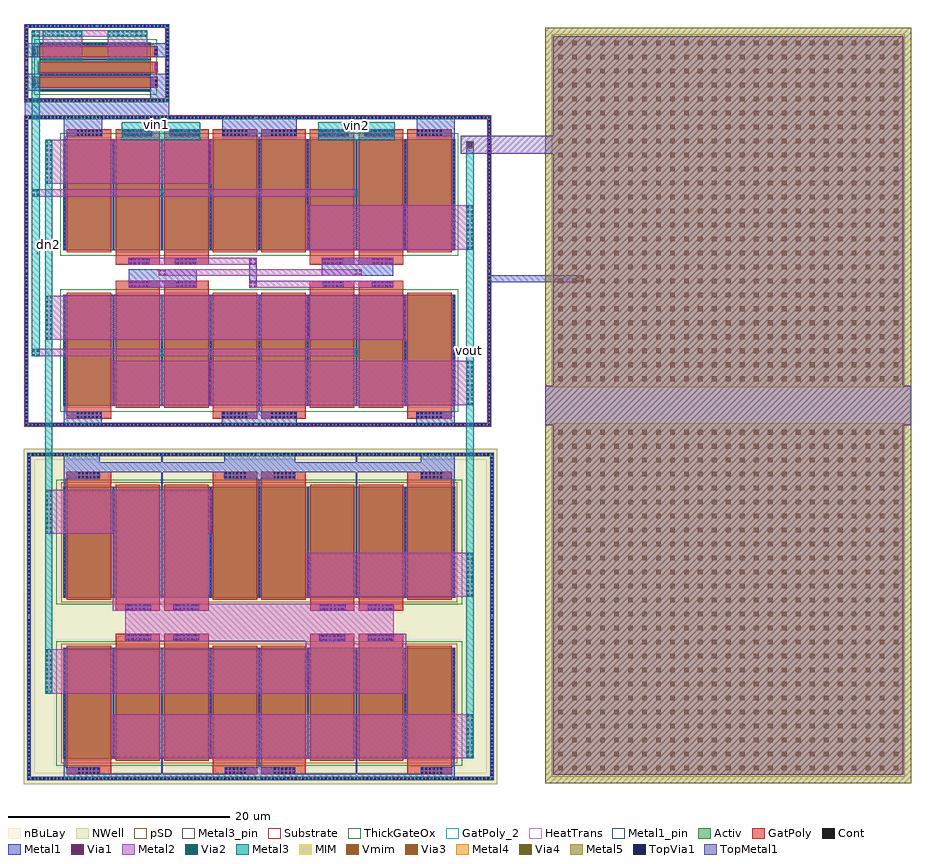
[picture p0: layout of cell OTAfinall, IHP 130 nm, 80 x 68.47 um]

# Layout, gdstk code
from math import pi, radians
import gdstk
lib = gdstk.Library(unit=1e-6, precision=5e-09)
def R(c, l, rs):  # rectangles x0, y0, x1, y1
    for r in rs: c.add(gdstk.rectangle(r[:2], r[2:], *l))
def A(c, l, x, y, w, h, nx, ny, dx, dy):  # array of equal rectangles
    R(c, l, [(x+i*dx, y+j*dy, x+i*dx+w, y+j*dy+h) for i in range(nx) for j in range(ny)])
def P(c, l, *ps):  # polygons
    for p in ps: c.add(gdstk.Polygon(p, *l))
Activ = (1, 0)
GatPoly = (5, 0)
GatPoly_2 = (5, 2)
Cont = (6, 0)
Metal1 = (8, 0)
Metal1_pin = (8, 2)
Metal2 = (10, 0)
pSD = (14, 0)
Via1 = (19, 0)
Via2 = (29, 0)
Metal3 = (30, 0)
Metal3_pin = (30, 2)
NWell = (31, 0)
nBuLay = (32, 0)
MIM = (36, 0)
Substrate = (40, 0)
ThickGateOx = (44, 0)
Via3 = (49, 0)
Metal4 = (50, 0)
HeatTrans = (51, 0)
Via4 = (66, 0)
Metal5 = (67, 0)
TopVia1 = (125, 0)
TopMetal1 = (126, 0)
Vmim = (129, 0)

nmoshv_1 = lib.new_cell('nmosHV$1')
R(nmoshv_1, Activ, [(0,0,0.3,0.3), (0,0,4.68,10), (4.38,0,4.68,0.3)])
R(nmoshv_1, GatPoly, [(0.34,-0.18,4.34,10.18)])
R(nmoshv_1, GatPoly_2, [(0.34,-0.18,4.34,10.18)])
A(nmoshv_1, Cont, 0.07, 0.07, 0.16, 0.16, 1, 4, 0, 0.345)
A(nmoshv_1, Cont, 4.45, 0.07, 0.16, 0.16, 1, 4, 0, 0.345)
A(nmoshv_1, Cont, 0.07, 1.455, 0.16, 0.16, 1, 3, 0, 0.345)
A(nmoshv_1, Cont, 4.45, 1.455, 0.16, 0.16, 1, 3, 0, 0.345)
A(nmoshv_1, Cont, 0.07, 2.495, 0.16, 0.16, 1, 4, 0, 0.345)
A(nmoshv_1, Cont, 4.45, 2.495, 0.16, 0.16, 1, 4, 0, 0.345)
A(nmoshv_1, Cont, 0.07, 3.88, 0.16, 0.16, 1, 3, 0, 0.345)
A(nmoshv_1, Cont, 4.45, 3.88, 0.16, 0.16, 1, 3, 0, 0.345)
A(nmoshv_1, Cont, 0.07, 4.92, 0.16, 0.16, 1, 4, 0, 0.345)
A(nmoshv_1, Cont, 4.45, 4.92, 0.16, 0.16, 1, 4, 0, 0.345)
A(nmoshv_1, Cont, 0.07, 6.305, 0.16, 0.16, 1, 3, 0, 0.345)
A(nmoshv_1, Cont, 4.45, 6.305, 0.16, 0.16, 1, 3, 0, 0.345)
A(nmoshv_1, Cont, 0.07, 7.345, 0.16, 0.16, 1, 4, 0, 0.345)
A(nmoshv_1, Cont, 4.45, 7.345, 0.16, 0.16, 1, 4, 0, 0.345)
A(nmoshv_1, Cont, 0.07, 8.73, 0.16, 0.16, 1, 3, 0, 0.345)
A(nmoshv_1, Cont, 4.45, 8.73, 0.16, 0.16, 1, 3, 0, 0.345)
R(nmoshv_1, Cont, [(0.07,9.77,0.23,9.93), (4.45,9.77,4.61,9.93)])
R(nmoshv_1, Metal1, [(0.07,0,0.23,10), (4.45,0,4.61,10)])
R(nmoshv_1, Metal1_pin, [(0.07,0,0.23,10), (4.45,0,4.61,10)])
R(nmoshv_1, ThickGateOx, [(-0.27,-0.52,4.95,10.52)])
R(nmoshv_1, HeatTrans, [(0.34,-0.18,4.34,10.18)])
nmoshv_1.add(gdstk.Label('nmosHV', (2.34,5), layer=63, texttype=0))
nmoshv_1.add(gdstk.Label('nmosHV', (2.34,5), layer=51, texttype=0))

via_stack_23 = lib.new_cell('via_stack$23')
R(via_stack_23, Metal1, [(-0.105,-1.99,0.105,1.99)])
R(via_stack_23, Metal2, [(-0.1,-1.99,0.1,1.99)])
A(via_stack_23, Via1, -0.095, -1.94, 0.19, 0.19, 1, 10, 0, 0.41)

via_stack = lib.new_cell('via_stack')
R(via_stack, Metal2, [(-0.305,-1.99,0.305,1.99)])
A(via_stack, Via2, -0.3, -1.94, 0.19, 0.19, 1, 10, 0, 0.41)
A(via_stack, Via2, 0.11, -1.94, 0.19, 0.19, 1, 10, 0, 0.41)
R(via_stack, Metal3, [(-0.305,-1.99,0.305,1.99)])

guard_ring_1 = lib.new_cell('guard_ring$1')
R(guard_ring_1, Activ, [(-21,-13.7,-20.7,13.7), (20.7,-13.7,21,13.7), (-21,13.7,21,14)])
P(guard_ring_1, Activ, [(-21,-14),(-21,13.7),(-20.7,13.7),(-20.7,-13.7),(20.7,-13.7),(20.7,13.7),(-21,13.7),(-21,14),(21,14),(21,-14)])
A(guard_ring_1, Cont, -20.93, -13.93, 0.16, 0.16, 61, 2, 0.34, 27.7)
A(guard_ring_1, Cont, 0.03, -13.93, 0.16, 0.16, 62, 2, 0.34, 27.7)
A(guard_ring_1, Cont, -20.93, -13.59, 0.16, 0.16, 1, 40, 0, 0.34)
A(guard_ring_1, Cont, 20.77, -13.59, 0.16, 0.16, 1, 40, 0, 0.34)
A(guard_ring_1, Cont, -20.93, 0.17, 0.16, 0.16, 1, 40, 0, 0.34)
A(guard_ring_1, Cont, 20.77, 0.17, 0.16, 0.16, 1, 40, 0, 0.34)
R(guard_ring_1, Metal1, [(-21,-14,21,-13.7), (-21,-13.7,-20.7,13.7), (20.7,-13.7,21,13.7), (-21,13.7,21,14)])
R(guard_ring_1, pSD, [(-21.03,-13.67,-20.67,13.67), (20.67,-13.67,21.03,13.67), (-21.03,13.67,21.03,14.03)])
P(guard_ring_1, pSD, [(-21.03,-14.03),(-21.03,13.67),(-20.67,13.67),(-20.67,-13.67),(20.67,-13.67),(20.67,13.67),(-21.03,13.67),(-21.03,14.03),(21.03,14.03),(21.03,-14.03)])
R(guard_ring_1, Substrate, [(-21.03,-13.67,-20.67,13.67), (20.67,-13.67,21.03,13.67), (-21.03,13.67,21.03,14.03)])
P(guard_ring_1, Substrate, [(-21.03,-14.03),(-21.03,13.67),(-20.67,13.67),(-20.67,-13.67),(20.67,-13.67),(20.67,13.67),(-21.03,13.67),(-21.03,14.03),(21.03,14.03),(21.03,-14.03)])
guard_ring_1.add(gdstk.Label('sub!', (0,-13.85), layer=63, texttype=0))

guard_ring_1_1 = lib.new_cell('guard_ring$1$1')
R(guard_ring_1_1, Activ, [(-21,-14.45,-20.7,14.45), (20.7,-14.45,21,14.45), (-21,14.45,21,14.75)])
P(guard_ring_1_1, Activ, [(-21,-14.75),(-21,14.45),(-20.7,14.45),(-20.7,-14.45),(20.7,-14.45),(20.7,14.45),(-21,14.45),(-21,14.75),(21,14.75),(21,-14.75)])
A(guard_ring_1_1, Cont, -20.93, -14.68, 0.16, 0.16, 61, 2, 0.34, 29.2)
A(guard_ring_1_1, Cont, 0.03, -14.68, 0.16, 0.16, 62, 2, 0.34, 29.2)
A(guard_ring_1_1, Cont, -20.93, -14.34, 0.16, 0.16, 1, 42, 0, 0.34)
A(guard_ring_1_1, Cont, 20.77, -14.34, 0.16, 0.16, 1, 42, 0, 0.34)
A(guard_ring_1_1, Cont, -20.93, 0.24, 0.16, 0.16, 1, 42, 0, 0.34)
A(guard_ring_1_1, Cont, 20.77, 0.24, 0.16, 0.16, 1, 42, 0, 0.34)
R(guard_ring_1_1, Metal1, [(-21,-14.75,21,-14.45), (-21,-14.45,-20.7,14.45), (20.7,-14.45,21,14.45), (-21,14.45,21,14.75)])
R(guard_ring_1_1, NWell, [(-21.35,-15.1,21.35,15.1)])
R(guard_ring_1_1, nBuLay, [(-21.35,-14.1,-20.35,14.1), (20.35,-14.1,21.35,14.1), (-21.35,14.1,21.35,15.1)])
P(guard_ring_1_1, nBuLay, [(-21.35,-15.1),(-21.35,14.1),(-20.35,14.1),(-20.35,-14.1),(20.35,-14.1),(20.35,14.1),(-21.35,14.1),(-21.35,15.1),(21.35,15.1),(21.35,-15.1)])
guard_ring_1_1.add(gdstk.Label('well', (0,-14.6), layer=63, texttype=0))

via_stack_14 = lib.new_cell('via_stack$14')
R(via_stack_14, Metal2, [(-0.305,-1.99,0.305,1.99)])
A(via_stack_14, Via2, -0.3, -1.94, 0.19, 0.19, 1, 10, 0, 0.41)
A(via_stack_14, Via2, 0.11, -1.94, 0.19, 0.19, 1, 10, 0, 0.41)
R(via_stack_14, Metal3, [(-0.305,-1.99,0.305,1.99)])

via_stack_20_1 = lib.new_cell('via_stack$20$1')
R(via_stack_20_1, Metal3, [(-0.35,-0.305,0.35,0.305)])
R(via_stack_20_1, Via3, [(-0.3,-0.3,-0.11,-0.11), (0.11,-0.3,0.3,-0.11), (-0.3,0.11,-0.11,0.3), (0.11,0.11,0.3,0.3)])
R(via_stack_20_1, Metal4, [(-0.35,-0.305,0.35,0.305)])
R(via_stack_20_1, Via4, [(-0.3,-0.3,-0.11,-0.11), (0.11,-0.3,0.3,-0.11), (-0.3,0.11,-0.11,0.3), (0.11,0.11,0.3,0.3)])
R(via_stack_20_1, Metal5, [(-0.35,-0.31,0.35,0.31)])
R(via_stack_20_1, TopVia1, [(-0.21,-0.21,0.21,0.21)])
R(via_stack_20_1, TopMetal1, [(-0.82,-0.82,0.82,0.82)])

cmim = lib.new_cell('cmim')
R(cmim, MIM, [(0,0,31.81,31.81)])
R(cmim, Metal5, [(-0.6,-0.6,32.41,32.41)])
R(cmim, TopMetal1, [(0.155,0.155,31.655,31.655)])
A(cmim, Vmim, 0.575, 0.575, 0.42, 0.42, 25, 25, 1.26, 1.26)

via_stack_21_1 = lib.new_cell('via_stack$21$1')
R(via_stack_21_1, Metal1, [(-0.35,-0.31,0.35,0.31)])
R(via_stack_21_1, Metal2, [(-0.35,-0.305,0.35,0.305)])
R(via_stack_21_1, Via1, [(-0.3,-0.3,-0.11,-0.11), (0.11,-0.3,0.3,-0.11), (-0.3,0.11,-0.11,0.3), (0.11,0.11,0.3,0.3)])
R(via_stack_21_1, Via2, [(-0.3,-0.3,-0.11,-0.11), (0.11,-0.3,0.3,-0.11), (-0.3,0.11,-0.11,0.3), (0.11,0.11,0.3,0.3)])
R(via_stack_21_1, Metal3, [(-0.35,-0.305,0.35,0.305)])
R(via_stack_21_1, Via3, [(-0.3,-0.3,-0.11,-0.11), (0.11,-0.3,0.3,-0.11), (-0.3,0.11,-0.11,0.3), (0.11,0.11,0.3,0.3)])
R(via_stack_21_1, Metal4, [(-0.35,-0.305,0.35,0.305)])
R(via_stack_21_1, Via4, [(-0.3,-0.3,-0.11,-0.11), (0.11,-0.3,0.3,-0.11), (-0.3,0.11,-0.11,0.3), (0.11,0.11,0.3,0.3)])
R(via_stack_21_1, Metal5, [(-0.35,-0.31,0.35,0.31)])

via_stack_19_2 = lib.new_cell('via_stack$19$2')
R(via_stack_19_2, GatPoly, [(-1.17,-0.32,1.17,0.32)])
A(via_stack_19_2, Cont, -1.1, -0.25, 0.16, 0.16, 7, 2, 0.34, 0.34)
R(via_stack_19_2, Metal1, [(-1.375,-0.31,1.375,0.31)])
R(via_stack_19_2, Metal2, [(-1.375,-0.305,1.375,0.305)])
A(via_stack_19_2, Via1, -1.325, -0.3, 0.19, 0.19, 7, 2, 0.41, 0.41)
A(via_stack_19_2, Via2, -1.325, -0.3, 0.19, 0.19, 7, 2, 0.41, 0.41)
R(via_stack_19_2, Metal3, [(-1.375,-0.305,1.375,0.305)])

via_stack_2 = lib.new_cell('via_stack$2')
R(via_stack_2, GatPoly, [(-0.83,-0.32,0.83,0.32)])
A(via_stack_2, Cont, -0.76, -0.25, 0.16, 0.16, 5, 2, 0.34, 0.34)
R(via_stack_2, Metal1, [(-0.965,-0.31,0.965,0.31)])
R(via_stack_2, Metal2, [(-0.965,-0.305,0.965,0.305)])
A(via_stack_2, Via1, -0.915, -0.3, 0.19, 0.19, 5, 2, 0.41, 0.41)

via_stack_8 = lib.new_cell('via_stack$8')
R(via_stack_8, GatPoly, [(-1.17,-0.32,1.17,0.32)])
A(via_stack_8, Cont, -1.1, -0.25, 0.16, 0.16, 7, 2, 0.34, 0.34)
R(via_stack_8, Metal1, [(-1.15,-0.25,1.15,0.25)])

nmoshv_2 = lib.new_cell('nmosHV$2')
R(nmoshv_2, Activ, [(0,0,0.3,0.3), (0,0,4.68,10), (4.38,0,4.68,0.3)])
R(nmoshv_2, GatPoly, [(0.34,-0.18,4.34,10.18)])
R(nmoshv_2, GatPoly_2, [(0.34,-0.18,4.34,10.18)])
A(nmoshv_2, Cont, 0.07, 0.07, 0.16, 0.16, 1, 4, 0, 0.345)
A(nmoshv_2, Cont, 4.45, 0.07, 0.16, 0.16, 1, 4, 0, 0.345)
A(nmoshv_2, Cont, 0.07, 1.455, 0.16, 0.16, 1, 3, 0, 0.345)
A(nmoshv_2, Cont, 4.45, 1.455, 0.16, 0.16, 1, 3, 0, 0.345)
A(nmoshv_2, Cont, 0.07, 2.495, 0.16, 0.16, 1, 4, 0, 0.345)
A(nmoshv_2, Cont, 4.45, 2.495, 0.16, 0.16, 1, 4, 0, 0.345)
A(nmoshv_2, Cont, 0.07, 3.88, 0.16, 0.16, 1, 3, 0, 0.345)
A(nmoshv_2, Cont, 4.45, 3.88, 0.16, 0.16, 1, 3, 0, 0.345)
A(nmoshv_2, Cont, 0.07, 4.92, 0.16, 0.16, 1, 4, 0, 0.345)
A(nmoshv_2, Cont, 4.45, 4.92, 0.16, 0.16, 1, 4, 0, 0.345)
A(nmoshv_2, Cont, 0.07, 6.305, 0.16, 0.16, 1, 3, 0, 0.345)
A(nmoshv_2, Cont, 4.45, 6.305, 0.16, 0.16, 1, 3, 0, 0.345)
A(nmoshv_2, Cont, 0.07, 7.345, 0.16, 0.16, 1, 4, 0, 0.345)
A(nmoshv_2, Cont, 4.45, 7.345, 0.16, 0.16, 1, 4, 0, 0.345)
A(nmoshv_2, Cont, 0.07, 8.73, 0.16, 0.16, 1, 3, 0, 0.345)
A(nmoshv_2, Cont, 4.45, 8.73, 0.16, 0.16, 1, 3, 0, 0.345)
R(nmoshv_2, Cont, [(0.07,9.77,0.23,9.93), (4.45,9.77,4.61,9.93)])
R(nmoshv_2, Metal1, [(0.07,0,0.23,10), (4.45,0,4.61,10)])
R(nmoshv_2, Metal1_pin, [(0.07,0,0.23,10), (4.45,0,4.61,10)])
R(nmoshv_2, ThickGateOx, [(-0.27,-0.52,4.95,10.52)])
R(nmoshv_2, HeatTrans, [(0.34,-0.18,4.34,10.18)])
nmoshv_2.add(gdstk.Label('nmosHV', (2.34,5), layer=63, texttype=0))
nmoshv_2.add(gdstk.Label('nmosHV', (2.34,5), layer=51, texttype=0))

via_stack_10 = lib.new_cell('via_stack$10')
R(via_stack_10, Metal1, [(-0.105,-0.35,0.105,0.35)])
R(via_stack_10, Metal2, [(-0.1,-0.35,0.1,0.35)])
R(via_stack_10, Via1, [(-0.095,-0.3,0.095,-0.11), (-0.095,0.11,0.095,0.3)])
R(via_stack_10, Via2, [(-0.095,-0.3,0.095,-0.11), (-0.095,0.11,0.095,0.3)])
R(via_stack_10, Metal3, [(-0.1,-0.35,0.1,0.35)])

via_stack_3 = lib.new_cell('via_stack$3')
R(via_stack_3, Metal1, [(-0.35,-0.31,0.35,0.31)])
R(via_stack_3, Metal2, [(-0.35,-0.305,0.35,0.305)])
R(via_stack_3, Via1, [(-0.3,-0.3,-0.11,-0.11), (0.11,-0.3,0.3,-0.11), (-0.3,0.11,-0.11,0.3), (0.11,0.11,0.3,0.3)])

via_stack_12 = lib.new_cell('via_stack$12')
R(via_stack_12, Metal2, [(-0.35,-0.305,0.35,0.305)])
R(via_stack_12, Via2, [(-0.3,-0.3,-0.11,-0.11), (0.11,-0.3,0.3,-0.11), (-0.3,0.11,-0.11,0.3), (0.11,0.11,0.3,0.3)])
R(via_stack_12, Metal3, [(-0.35,-0.305,0.35,0.305)])

via_stack_12_1_1 = lib.new_cell('via_stack$12$1$1')
R(via_stack_12_1_1, Metal2, [(-0.35,-0.305,0.35,0.305)])
R(via_stack_12_1_1, Via2, [(-0.3,-0.3,-0.11,-0.11), (0.11,-0.3,0.3,-0.11), (-0.3,0.11,-0.11,0.3), (0.11,0.11,0.3,0.3)])
R(via_stack_12_1_1, Metal3, [(-0.35,-0.305,0.35,0.305)])

guard_ring_1_2_2 = lib.new_cell('guard_ring$1$2$2')
R(guard_ring_1_2_2, Activ, [(-3.5,-6.2,-3.2,6.2), (3.2,-6.2,3.5,6.2), (-3.5,6.2,3.5,6.5)])
P(guard_ring_1_2_2, Activ, [(-3.5,-6.5),(-3.5,6.2),(-3.2,6.2),(-3.2,-6.2),(3.2,-6.2),(3.2,6.2),(-3.5,6.2),(-3.5,6.5),(3.5,6.5),(3.5,-6.5)])
A(guard_ring_1_2_2, Cont, -3.43, -6.43, 0.16, 0.16, 10, 2, 0.34, 12.7)
A(guard_ring_1_2_2, Cont, 0.21, -6.43, 0.16, 0.16, 10, 2, 0.34, 12.7)
A(guard_ring_1_2_2, Cont, -3.43, -6.09, 0.16, 0.16, 1, 18, 0, 0.34)
A(guard_ring_1_2_2, Cont, 3.27, -6.09, 0.16, 0.16, 1, 18, 0, 0.34)
A(guard_ring_1_2_2, Cont, -3.43, 0.15, 0.16, 0.16, 1, 18, 0, 0.34)
A(guard_ring_1_2_2, Cont, 3.27, 0.15, 0.16, 0.16, 1, 18, 0, 0.34)
R(guard_ring_1_2_2, Metal1, [(-3.5,-6.5,3.5,-6.2), (-3.5,-6.2,-3.2,6.2), (3.2,-6.2,3.5,6.2), (-3.5,6.2,3.5,6.5)])
R(guard_ring_1_2_2, pSD, [(-3.53,-6.17,-3.17,6.17), (3.17,-6.17,3.53,6.17), (-3.53,6.17,3.53,6.53)])
P(guard_ring_1_2_2, pSD, [(-3.53,-6.53),(-3.53,6.17),(-3.17,6.17),(-3.17,-6.17),(3.17,-6.17),(3.17,6.17),(-3.53,6.17),(-3.53,6.53),(3.53,6.53),(3.53,-6.53)])
R(guard_ring_1_2_2, Substrate, [(-3.53,-6.17,-3.17,6.17), (3.17,-6.17,3.53,6.17), (-3.53,6.17,3.53,6.53)])
P(guard_ring_1_2_2, Substrate, [(-3.53,-6.53),(-3.53,6.17),(-3.17,6.17),(-3.17,-6.17),(3.17,-6.17),(3.17,6.17),(-3.53,6.17),(-3.53,6.53),(3.53,6.53),(3.53,-6.53)])
guard_ring_1_2_2.add(gdstk.Label('sub!', (0,-6.35), layer=63, texttype=0))

nmoshv = lib.new_cell('nmosHV')
R(nmoshv, Activ, [(0,0,0.3,0.3), (0,0,1.68,10), (1.38,0,1.68,0.3)])
R(nmoshv, GatPoly, [(0.34,-0.18,1.34,10.18)])
R(nmoshv, GatPoly_2, [(0.34,-0.18,1.34,10.18)])
A(nmoshv, Cont, 0.07, 0.07, 0.16, 0.16, 1, 4, 0, 0.345)
A(nmoshv, Cont, 1.45, 0.07, 0.16, 0.16, 1, 4, 0, 0.345)
A(nmoshv, Cont, 0.07, 1.455, 0.16, 0.16, 1, 3, 0, 0.345)
A(nmoshv, Cont, 1.45, 1.455, 0.16, 0.16, 1, 3, 0, 0.345)
A(nmoshv, Cont, 0.07, 2.495, 0.16, 0.16, 1, 4, 0, 0.345)
A(nmoshv, Cont, 1.45, 2.495, 0.16, 0.16, 1, 4, 0, 0.345)
A(nmoshv, Cont, 0.07, 3.88, 0.16, 0.16, 1, 3, 0, 0.345)
A(nmoshv, Cont, 1.45, 3.88, 0.16, 0.16, 1, 3, 0, 0.345)
A(nmoshv, Cont, 0.07, 4.92, 0.16, 0.16, 1, 4, 0, 0.345)
A(nmoshv, Cont, 1.45, 4.92, 0.16, 0.16, 1, 4, 0, 0.345)
A(nmoshv, Cont, 0.07, 6.305, 0.16, 0.16, 1, 3, 0, 0.345)
A(nmoshv, Cont, 1.45, 6.305, 0.16, 0.16, 1, 3, 0, 0.345)
A(nmoshv, Cont, 0.07, 7.345, 0.16, 0.16, 1, 4, 0, 0.345)
A(nmoshv, Cont, 1.45, 7.345, 0.16, 0.16, 1, 4, 0, 0.345)
A(nmoshv, Cont, 0.07, 8.73, 0.16, 0.16, 1, 3, 0, 0.345)
A(nmoshv, Cont, 1.45, 8.73, 0.16, 0.16, 1, 3, 0, 0.345)
R(nmoshv, Cont, [(0.07,9.77,0.23,9.93), (1.45,9.77,1.61,9.93)])
R(nmoshv, Metal1, [(0.07,0,0.23,10), (1.45,0,1.61,10)])
R(nmoshv, Metal1_pin, [(0.07,0,0.23,10), (1.45,0,1.61,10)])
R(nmoshv, ThickGateOx, [(-0.27,-0.52,1.95,10.52)])
R(nmoshv, HeatTrans, [(0.34,-0.18,1.34,10.18)])
nmoshv.add(gdstk.Label('nmosHV', (0.84,5), layer=63, texttype=0))
nmoshv.add(gdstk.Label('nmosHV', (0.84,5), layer=51, texttype=0))

via_stack_5 = lib.new_cell('via_stack$5')
R(via_stack_5, GatPoly, [(-0.32,-0.15,0.32,0.15)])
R(via_stack_5, Cont, [(-0.25,-0.08,-0.09,0.08), (0.09,-0.08,0.25,0.08)])
R(via_stack_5, Metal1, [(-0.3,-0.08,0.3,0.08)])

via_stack_2_1_2 = lib.new_cell('via_stack$2$1$2')
R(via_stack_2_1_2, Metal2, [(-0.305,-1.785,0.305,1.785)])
A(via_stack_2_1_2, Via2, -0.3, -1.735, 0.19, 0.19, 1, 9, 0, 0.41)
A(via_stack_2_1_2, Via2, 0.11, -1.735, 0.19, 0.19, 1, 9, 0, 0.41)
R(via_stack_2_1_2, Metal3, [(-0.305,-1.785,0.305,1.785)])

via_stack_1 = lib.new_cell('via_stack$1')
R(via_stack_1, Metal1, [(-0.105,-1.785,0.105,1.785)])
R(via_stack_1, Metal2, [(-0.1,-1.785,0.1,1.785)])
A(via_stack_1, Via1, -0.095, -1.735, 0.19, 0.19, 1, 9, 0, 0.41)
A(via_stack_1, Via2, -0.095, -1.735, 0.19, 0.19, 1, 9, 0, 0.41)
R(via_stack_1, Metal3, [(-0.1,-1.785,0.1,1.785)])

via_stack_15 = lib.new_cell('via_stack$15')
R(via_stack_15, GatPoly, [(-0.32,-0.15,0.32,0.15)])
R(via_stack_15, Cont, [(-0.25,-0.08,-0.09,0.08), (0.09,-0.08,0.25,0.08)])
R(via_stack_15, Metal1, [(-0.35,-0.105,0.35,0.105)])
R(via_stack_15, Metal2, [(-0.35,-0.1,0.35,0.1)])
R(via_stack_15, Via1, [(-0.3,-0.095,-0.11,0.095), (0.11,-0.095,0.3,0.095)])

via_stack_10_1_2 = lib.new_cell('via_stack$10$1$2')
R(via_stack_10_1_2, GatPoly, [(-1,-0.32,1,0.32)])
A(via_stack_10_1_2, Cont, -0.93, -0.25, 0.16, 0.16, 6, 2, 0.34, 0.34)
R(via_stack_10_1_2, Metal1, [(-1.17,-0.31,1.17,0.31)])
R(via_stack_10_1_2, Metal2, [(-1.17,-0.305,1.17,0.305)])
A(via_stack_10_1_2, Via1, -1.12, -0.3, 0.19, 0.19, 6, 2, 0.41, 0.41)

pmoshv_1 = lib.new_cell('pmosHV$1')
R(pmoshv_1, Activ, [(0,0,0.3,0.3), (0,0,4.68,10), (4.38,0,4.68,0.3)])
R(pmoshv_1, GatPoly, [(0.34,-0.18,4.34,10.18)])
R(pmoshv_1, GatPoly_2, [(0.34,-0.18,4.34,10.18)])
A(pmoshv_1, Cont, 0.07, 0.07, 0.16, 0.16, 1, 4, 0, 0.345)
A(pmoshv_1, Cont, 4.45, 0.07, 0.16, 0.16, 1, 4, 0, 0.345)
A(pmoshv_1, Cont, 0.07, 1.455, 0.16, 0.16, 1, 3, 0, 0.345)
A(pmoshv_1, Cont, 4.45, 1.455, 0.16, 0.16, 1, 3, 0, 0.345)
A(pmoshv_1, Cont, 0.07, 2.495, 0.16, 0.16, 1, 4, 0, 0.345)
A(pmoshv_1, Cont, 4.45, 2.495, 0.16, 0.16, 1, 4, 0, 0.345)
A(pmoshv_1, Cont, 0.07, 3.88, 0.16, 0.16, 1, 3, 0, 0.345)
A(pmoshv_1, Cont, 4.45, 3.88, 0.16, 0.16, 1, 3, 0, 0.345)
A(pmoshv_1, Cont, 0.07, 4.92, 0.16, 0.16, 1, 4, 0, 0.345)
A(pmoshv_1, Cont, 4.45, 4.92, 0.16, 0.16, 1, 4, 0, 0.345)
A(pmoshv_1, Cont, 0.07, 6.305, 0.16, 0.16, 1, 3, 0, 0.345)
A(pmoshv_1, Cont, 4.45, 6.305, 0.16, 0.16, 1, 3, 0, 0.345)
A(pmoshv_1, Cont, 0.07, 7.345, 0.16, 0.16, 1, 4, 0, 0.345)
A(pmoshv_1, Cont, 4.45, 7.345, 0.16, 0.16, 1, 4, 0, 0.345)
A(pmoshv_1, Cont, 0.07, 8.73, 0.16, 0.16, 1, 3, 0, 0.345)
A(pmoshv_1, Cont, 4.45, 8.73, 0.16, 0.16, 1, 3, 0, 0.345)
R(pmoshv_1, Cont, [(0.07,9.77,0.23,9.93), (4.45,9.77,4.61,9.93)])
R(pmoshv_1, Metal1, [(0.07,0,0.23,10), (4.45,0,4.61,10)])
R(pmoshv_1, Metal1_pin, [(0.07,0,0.23,10), (4.45,0,4.61,10)])
R(pmoshv_1, pSD, [(-0.18,-0.4,4.86,10.4)])
R(pmoshv_1, NWell, [(-0.62,-0.62,5.3,10.62)])
R(pmoshv_1, Substrate, [(4.38,0,4.68,0.3)])
R(pmoshv_1, ThickGateOx, [(-0.62,-0.62,5.3,10.62)])
R(pmoshv_1, HeatTrans, [(0.34,-0.18,4.34,10.18)])
pmoshv_1.add(gdstk.Label('pmosHV', (2.34,5), layer=63, texttype=0))
pmoshv_1.add(gdstk.Label('pmos', (2.34,5), layer=51, texttype=0))

pmoshv = lib.new_cell('pmosHV')
R(pmoshv, Activ, [(0,0,0.3,0.3), (0,0,4.68,10), (4.38,0,4.68,0.3)])
R(pmoshv, GatPoly, [(0.34,-0.18,4.34,10.18)])
R(pmoshv, GatPoly_2, [(0.34,-0.18,4.34,10.18)])
A(pmoshv, Cont, 0.07, 0.07, 0.16, 0.16, 1, 4, 0, 0.345)
A(pmoshv, Cont, 4.45, 0.07, 0.16, 0.16, 1, 4, 0, 0.345)
A(pmoshv, Cont, 0.07, 1.455, 0.16, 0.16, 1, 3, 0, 0.345)
A(pmoshv, Cont, 4.45, 1.455, 0.16, 0.16, 1, 3, 0, 0.345)
A(pmoshv, Cont, 0.07, 2.495, 0.16, 0.16, 1, 4, 0, 0.345)
A(pmoshv, Cont, 4.45, 2.495, 0.16, 0.16, 1, 4, 0, 0.345)
A(pmoshv, Cont, 0.07, 3.88, 0.16, 0.16, 1, 3, 0, 0.345)
A(pmoshv, Cont, 4.45, 3.88, 0.16, 0.16, 1, 3, 0, 0.345)
A(pmoshv, Cont, 0.07, 4.92, 0.16, 0.16, 1, 4, 0, 0.345)
A(pmoshv, Cont, 4.45, 4.92, 0.16, 0.16, 1, 4, 0, 0.345)
A(pmoshv, Cont, 0.07, 6.305, 0.16, 0.16, 1, 3, 0, 0.345)
A(pmoshv, Cont, 4.45, 6.305, 0.16, 0.16, 1, 3, 0, 0.345)
A(pmoshv, Cont, 0.07, 7.345, 0.16, 0.16, 1, 4, 0, 0.345)
A(pmoshv, Cont, 4.45, 7.345, 0.16, 0.16, 1, 4, 0, 0.345)
A(pmoshv, Cont, 0.07, 8.73, 0.16, 0.16, 1, 3, 0, 0.345)
A(pmoshv, Cont, 4.45, 8.73, 0.16, 0.16, 1, 3, 0, 0.345)
R(pmoshv, Cont, [(0.07,9.77,0.23,9.93), (4.45,9.77,4.61,9.93)])
R(pmoshv, Metal1, [(0.07,0,0.23,10), (4.45,0,4.61,10)])
R(pmoshv, Metal1_pin, [(0.07,0,0.23,10), (4.45,0,4.61,10)])
R(pmoshv, pSD, [(-0.18,-0.4,4.86,10.4)])
R(pmoshv, NWell, [(-0.62,-0.62,5.3,10.62)])
R(pmoshv, Substrate, [(4.38,0,4.68,0.3)])
R(pmoshv, ThickGateOx, [(-0.62,-0.62,5.3,10.62)])
R(pmoshv, HeatTrans, [(0.34,-0.18,4.34,10.18)])
pmoshv.add(gdstk.Label('pmosHV', (2.34,5), layer=63, texttype=0))
pmoshv.add(gdstk.Label('pmos', (2.34,5), layer=51, texttype=0))

via_stack_13 = lib.new_cell('via_stack$13')
R(via_stack_13, GatPoly, [(-1,-0.32,1,0.32)])
A(via_stack_13, Cont, -0.93, -0.25, 0.16, 0.16, 6, 2, 0.34, 0.34)
R(via_stack_13, Metal1, [(-0.98,-0.25,0.98,0.25)])

via_stack_23_1_2 = lib.new_cell('via_stack$23$1$2')
R(via_stack_23_1_2, Metal1, [(-0.105,-1.99,0.105,1.99)])
R(via_stack_23_1_2, Metal2, [(-0.1,-1.99,0.1,1.99)])
A(via_stack_23_1_2, Via1, -0.095, -1.94, 0.19, 0.19, 1, 10, 0, 0.41)

otafinall = lib.new_cell('OTAfinall')
A(otafinall, GatPoly, -66.345, 69.055, 4, 0.81, 8, 1, 4.38, 0)
A(otafinall, GatPoly, -58.66, 73.565, 0.505, 1, 1, 3, 0, 1.38)
R(otafinall, GatPoly, [(-66.34,11.725,-62.34,12.965), (-53.2,11.725,-49.2,12.965), (-48.82,11.725,-44.82,12.965), (-35.68,11.725,-31.68,12.965), (-61.96,23.24,-57.96,24.38), (-57.58,23.24,-53.58,24.38), (-44.44,23.24,-40.44,24.38), (-40.06,23.24,-36.06,24.38), (-61.96,26.45,-57.96,27.59), (-57.58,26.45,-53.58,27.59), (-44.44,26.45,-40.44,27.59), (-40.06,26.45,-36.06,27.59), (-66.34,37.755,-62.34,38.995), (-53.2,37.755,-49.2,38.995), (-48.815,37.755,-44.815,38.995), (-35.68,37.755,-31.68,38.995), (-66.345,43.765,-62.345,44.83), (-53.205,43.765,-49.205,44.83), (-48.825,43.765,-44.825,44.83), (-35.685,43.765,-31.685,44.83), (-61.965,54.955,-57.965,56.205), (-57.585,54.955,-53.585,56.205), (-44.445,54.955,-40.445,56.205), (-40.065,54.955,-36.065,56.205), (-61.965,57.635,-57.965,58.885), (-57.585,57.635,-53.585,58.875), (-44.445,57.635,-40.445,58.885), (-40.065,57.635,-36.065,58.885), (-69.44,73.565,-68.935,74.565), (-69.44,76.325,-68.935,77.325)])
R(otafinall, Metal1, [(-66.61,11.21,-66.45,13.195), (-66.61,11.21,-63.395,12.365), (-57.85,11.21,-57.69,13.16), (-52.145,11.21,-45.765,12.365), (-49.09,11.21,-48.93,13.16), (-40.33,11.21,-40.17,13.145), (-34.46,11.21,-31.41,12.365), (-31.57,11.21,-31.41,13.145), (-66.61,11.25,-31.41,11.79), (-57.85,27.655,-57.69,40.71), (-49.09,37.585,-48.93,40.71), (-40.33,37.585,-40.17,40.71), (-31.57,37.59,-31.41,40.71), (-66.61,37.62,-66.45,40.71), (-66.61,38.355,-63.395,40.71), (-52.17,38.355,-48.93,40.71), (-49.09,38.355,-45.785,40.71), (-34.46,38.355,-31.41,40.71), (-63.395,38.925,-34.46,39.83), (-66.615,43.07,-63.185,44.405), (-66.615,43.07,-66.455,45.04), (-52.375,43.07,-45.65,44.405), (-49.095,43.07,-48.935,44.965), (-34.85,43.07,-31.415,44.405), (-31.575,43.07,-31.415,44.945), (-60.77,55.56,-54.665,57.25), (-49.935,55.57,-49.23,58.255), (-28.445,56.065,-19.77,56.685), (-43.38,56.63,-36.94,58.26), (-49.095,68.895,-48.935,71.07), (-66.615,68.93,-66.455,71.07), (-31.575,68.93,-31.415,71.07), (-66.615,69.225,-63.165,71.07), (-52.37,69.225,-45.65,71.07), (-34.845,69.225,-31.415,71.07), (-70.145,70.77,-57.145,72.6), (-58.845,72.3,-57.145,74.835), (-58.845,72.3,-57.145,73.455), (-70.145,73.295,-68.705,73.455), (-70.145,73.295,-68.775,74.835), (-69.03,74.675,-68.775,74.835), (-58.84,74.675,-58.455,74.835), (-70.145,76.325,-68.955,77.595), (-58.455,76.325,-57.145,77.595), (-70.145,77.435,-68.705,77.595), (-58.855,77.435,-57.145,77.595)])
R(otafinall, Metal2, [(-62.25,13.185,-29.715,17.165), (-68.27,19.005,-35.765,22.98), (-44.81,19.005,-35.77,24.39), (-61.1,23.74,-36.885,27.09), (-62.235,26.45,-53.58,37.385), (-44.73,27.725,-29.715,31.705), (-68.28,33.405,-53.275,37.385), (-62.26,44.99,-29.715,48.97), (-69.5,49.375,-40.15,50.075), (-68.28,50.875,-35.77,54.855), (-60.77,55.56,-54.665,56.205), (-49.935,55.56,-36.95,56.19), (-58.085,56.63,-39.78,57.25), (-43.335,57.62,-36.95,58.26), (-60.815,57.635,-49.23,58.28), (-44.74,59,-29.715,62.985), (-69.5,63.745,-40.16,64.445), (-68.28,64.925,-53.29,68.905), (-58.41,75.09,-58.2,75.79), (-68.53,76.03,-64.955,78.775), (-62.68,76.03,-59.11,78.78), (-69.5,78.165,-59.11,78.78)])
R(otafinall, Metal3, [(-30.385,13.185,-29.685,68.77), (-68.275,19.005,-67.665,68.905), (-68.28,19.255,-67.67,37.385), (-69.5,49.375,-68.8,64.445), (-57.885,49.375,-57.675,50.075), (-40.355,49.375,-40.145,50.075), (-69.5,50.065,-68.785,78.785), (-57.885,63.745,-57.675,64.445), (-40.365,63.745,-40.155,64.445), (-61.385,68.87,-54.325,70.5), (-43.69,68.87,-36.815,70.5)])
R(otafinall, Metal3_pin, [(-30.16,49.855,-30.03,49.985), (-69.08,58.595,-68.95,58.725), (-68.085,59.43,-67.955,59.56), (-40.35,70.105,-40.22,70.235), (-58.34,70.235,-58.21,70.365)])
R(otafinall, Metal5, [(-23.265,43.185,9.745,46.74)])
R(otafinall, TopMetal1, [(-23.265,43.185,9.745,46.74), (-29.22,67.64,-19.655,69.28)])
otafinall.add(gdstk.Reference(nmoshv_1, (-53.545,44.925)))
otafinall.add(gdstk.Reference(nmoshv_1, (-62.305,44.925)))
otafinall.add(gdstk.Reference(nmoshv_1, (-57.925,44.925)))
otafinall.add(gdstk.Reference(nmoshv_1, (-49.165,44.925)))
otafinall.add(gdstk.Reference(nmoshv_1, (-40.405,44.925)))
otafinall.add(gdstk.Reference(via_stack_23, (-53.395,46.98)))
otafinall.add(gdstk.Reference(nmoshv_1, (-66.685,44.925)))
otafinall.add(gdstk.Reference(nmoshv_1, (-36.025,44.925)))
otafinall.add(gdstk.Reference(via_stack_23, (-62.155,46.98)))
otafinall.add(gdstk.Reference(via_stack, (-30.015,46.98)))
otafinall.add(gdstk.Reference(nmoshv_1, (-44.785,44.925)))
otafinall.add(gdstk.Reference(guard_ring_1, (-49.145,57.07)))
otafinall.add(gdstk.Reference(guard_ring_1_1, (-48.905,25.96)))
otafinall.add(gdstk.Reference(via_stack, (-30.02,60.99)))
otafinall.add(gdstk.Reference(via_stack_14, (-30.02,15.175)))
otafinall.add(gdstk.Reference(via_stack_14, (-30.02,29.715)))
otafinall.add(gdstk.Reference(via_stack_20_1, (-30.04,68.46), rotation=pi))
otafinall.add(gdstk.Reference(cmim, (9.145,78.395), rotation=pi))
otafinall.add(gdstk.Reference(via_stack_21_1, (-20.12,56.375)))
otafinall.add(gdstk.Reference(via_stack_19_2, (-38.19,69.545)))
otafinall.add(gdstk.Reference(via_stack_2, (-37.915,55.88)))
otafinall.add(gdstk.Reference(via_stack_2, (-37.96,57.955)))
otafinall.add(gdstk.Reference(via_stack_8, (-33.675,69.545)))
otafinall.add(gdstk.Reference(via_stack_2, (-42.355,55.88)))
otafinall.add(gdstk.Reference(via_stack_23, (-44.635,60.99)))
otafinall.add(gdstk.Reference(nmoshv_2, (-49.165,58.955)))
otafinall.add(gdstk.Reference(nmoshv_1, (-44.785,58.955)))
otafinall.add(gdstk.Reference(via_stack_10, (-40.25,49.725)))
otafinall.add(gdstk.Reference(via_stack_3, (-40.13,56.94)))
otafinall.add(gdstk.Reference(via_stack_23, (-35.875,60.99)))
otafinall.add(gdstk.Reference(via_stack_2, (-42.415,57.955)))
otafinall.add(gdstk.Reference(via_stack_10, (-57.78,64.095)))
otafinall.add(gdstk.Reference(via_stack_12, (-69.15,64.14)))
otafinall.add(gdstk.Reference(via_stack_19_2, (-60.01,69.545)))
otafinall.add(gdstk.Reference(via_stack_19_2, (-42.315,69.545)))
otafinall.add(gdstk.Reference(via_stack_19_2, (-55.7,69.545)))
otafinall.add(gdstk.Reference(via_stack_12, (-69.15,49.68)))
otafinall.add(gdstk.Reference(via_stack_8, (-64.335,69.545)))
otafinall.add(gdstk.Reference(via_stack_2, (-55.65,57.965)))
otafinall.add(gdstk.Reference(via_stack_8, (-51.2,69.545)))
otafinall.add(gdstk.Reference(via_stack_3, (-49.585,57.95)))
otafinall.add(gdstk.Reference(via_stack_3, (-57.725,56.94)))
otafinall.add(gdstk.Reference(nmoshv_1, (-57.925,58.955)))
otafinall.add(gdstk.Reference(nmoshv_1, (-62.305,58.955)))
otafinall.add(gdstk.Reference(via_stack_2, (-59.85,57.955)))
otafinall.add(gdstk.Reference(via_stack, (-67.97,52.865)))
otafinall.add(gdstk.Reference(via_stack_3, (-49.585,55.88)))
otafinall.add(gdstk.Reference(nmoshv_1, (-66.685,58.955)))
otafinall.add(gdstk.Reference(via_stack_10, (-57.78,49.725)))
otafinall.add(gdstk.Reference(via_stack_2, (-55.63,55.88)))
otafinall.add(gdstk.Reference(via_stack_2, (-59.805,55.88)))
otafinall.add(gdstk.Reference(via_stack_23, (-53.395,66.915)))
otafinall.add(gdstk.Reference(via_stack_23, (-62.155,66.915)))
otafinall.add(gdstk.Reference(via_stack, (-67.97,66.915)))
otafinall.add(gdstk.Reference(nmoshv_1, (-53.545,58.955)))
otafinall.add(gdstk.Reference(via_stack_8, (-46.82,69.545)))
otafinall.add(gdstk.Reference(via_stack_12_1_1, (-69.145,78.48)))
otafinall.add(gdstk.Reference(via_stack_23, (-35.875,52.865)))
otafinall.add(gdstk.Reference(nmoshv_1, (-36.025,58.955)))
otafinall.add(gdstk.Reference(via_stack_23, (-44.635,52.865)))
otafinall.add(gdstk.Reference(guard_ring_1_2_2, (-63.645,75.8), rotation=3*pi/2))
otafinall.add(gdstk.Reference(nmoshv, (-68.775,77.665), rotation=3*pi/2))
otafinall.add(gdstk.Reference(via_stack_5, (-58.305,74.035), rotation=3*pi/2))
otafinall.add(gdstk.Reference(via_stack_5, (-69.29,76.805), rotation=3*pi/2))
otafinall.add(gdstk.Reference(via_stack_5, (-69.29,74.045), rotation=3*pi/2))
otafinall.add(gdstk.Reference(via_stack_5, (-58.305,76.82), rotation=3*pi/2))
otafinall.add(gdstk.Reference(via_stack_2_1_2, (-66.74,78.475), rotation=3*pi/2))
otafinall.add(gdstk.Reference(via_stack_2_1_2, (-60.895,78.475), rotation=3*pi/2))
otafinall.add(gdstk.Reference(via_stack_1, (-66.745,76.135), rotation=3*pi/2))
otafinall.add(gdstk.Reference(via_stack_1, (-60.895,76.135), rotation=3*pi/2))
otafinall.add(gdstk.Reference(via_stack_15, (-58.305,75.44), rotation=3*pi/2))
otafinall.add(gdstk.Reference(nmoshv, (-68.775,76.285), rotation=3*pi/2))
otafinall.add(gdstk.Reference(nmoshv, (-68.775,74.905), rotation=3*pi/2))
otafinall.add(gdstk.Reference(via_stack_10, (-40.26,64.095)))
otafinall.add(gdstk.Reference(nmoshv_1, (-40.405,58.955)))
otafinall.add(gdstk.Reference(via_stack_10_1_2, (-38.055,26.77)))
otafinall.add(gdstk.Reference(pmoshv_1, (-49.16,27.655)))
otafinall.add(gdstk.Reference(pmoshv, (-40.4,27.655)))
otafinall.add(gdstk.Reference(pmoshv, (-44.78,27.655)))
otafinall.add(gdstk.Reference(via_stack_13, (-46.785,38.675)))
otafinall.add(gdstk.Reference(via_stack_13, (-46.765,12.045)))
otafinall.add(gdstk.Reference(via_stack_13, (-33.46,38.675)))
otafinall.add(gdstk.Reference(via_stack_13, (-33.46,12.045)))
otafinall.add(gdstk.Reference(via_stack_23_1_2, (-44.63,20.995)))
otafinall.add(gdstk.Reference(via_stack_10_1_2, (-42.385,26.77)))
otafinall.add(gdstk.Reference(via_stack_23_1_2, (-35.87,20.995)))
otafinall.add(gdstk.Reference(via_stack_10_1_2, (-38.055,24.06)))
otafinall.add(gdstk.Reference(via_stack_23_1_2, (-44.63,29.715)))
otafinall.add(gdstk.Reference(via_stack_8, (-46.82,44.085)))
otafinall.add(gdstk.Reference(pmoshv, (-53.54,27.655)))
otafinall.add(gdstk.Reference(pmoshv, (-53.54,13.115)))
otafinall.add(gdstk.Reference(via_stack_10_1_2, (-55.61,26.77)))
otafinall.add(gdstk.Reference(via_stack_13, (-64.395,38.675)))
otafinall.add(gdstk.Reference(via_stack_13, (-51.145,12.045)))
otafinall.add(gdstk.Reference(via_stack_13, (-64.395,12.045)))
otafinall.add(gdstk.Reference(via_stack_13, (-51.17,38.675)))
otafinall.add(gdstk.Reference(via_stack_10_1_2, (-55.595,24.06)))
otafinall.add(gdstk.Reference(via_stack_8, (-64.345,44.085)))
otafinall.add(gdstk.Reference(pmoshv, (-62.3,27.655)))
otafinall.add(gdstk.Reference(pmoshv, (-66.68,27.655)))
otafinall.add(gdstk.Reference(via_stack_8, (-51.205,44.085)))
otafinall.add(gdstk.Reference(pmoshv, (-57.92,13.115)))
otafinall.add(gdstk.Reference(pmoshv_1, (-62.3,13.115)))
otafinall.add(gdstk.Reference(via_stack_23_1_2, (-62.135,35.395), rotation=pi))
otafinall.add(gdstk.Reference(pmoshv, (-36.02,27.655)))
otafinall.add(gdstk.Reference(pmoshv, (-36.02,13.115)))
otafinall.add(gdstk.Reference(via_stack_23_1_2, (-53.375,35.395), rotation=pi))
otafinall.add(gdstk.Reference(pmoshv, (-57.92,27.655)))
otafinall.add(gdstk.Reference(via_stack_23_1_2, (-53.39,15.175)))
otafinall.add(gdstk.Reference(via_stack_14, (-67.975,35.395), rotation=pi))
otafinall.add(gdstk.Reference(via_stack_14, (-67.975,20.995), rotation=pi))
otafinall.add(gdstk.Reference(pmoshv_1, (-66.68,13.115)))
otafinall.add(gdstk.Reference(via_stack_23_1_2, (-62.15,15.175)))
otafinall.add(gdstk.Reference(via_stack_10_1_2, (-59.905,24.06)))
otafinall.add(gdstk.Reference(via_stack_10_1_2, (-59.93,26.77)))
otafinall.add(gdstk.Reference(via_stack_8, (-33.685,44.085)))
otafinall.add(gdstk.Reference(pmoshv, (-44.78,13.115)))
otafinall.add(gdstk.Reference(pmoshv, (-49.16,13.115)))
otafinall.add(gdstk.Reference(pmoshv, (-40.4,13.115)))
otafinall.add(gdstk.Reference(via_stack_10_1_2, (-42.44,24.05)))
otafinall.add(gdstk.Reference(via_stack_23_1_2, (-35.87,29.715)))
otafinall.add(gdstk.Reference(cmim, (9.145,43.34), rotation=pi))
otafinall.add(gdstk.Label('vout', (-30.095,49.92), layer=30, texttype=25))
otafinall.add(gdstk.Label('dn2', (-68.02,59.495), layer=30, texttype=25))
otafinall.add(gdstk.Label('vin2', (-40.285,70.17), layer=30, texttype=25))
otafinall.add(gdstk.Label('vin1', (-58.275,70.3), layer=30, texttype=25))
otafinall.add(gdstk.Label('dn1', (-69.125,58.66), layer=30, texttype=25))

lib.write_gds('OTAfinall.gds')
